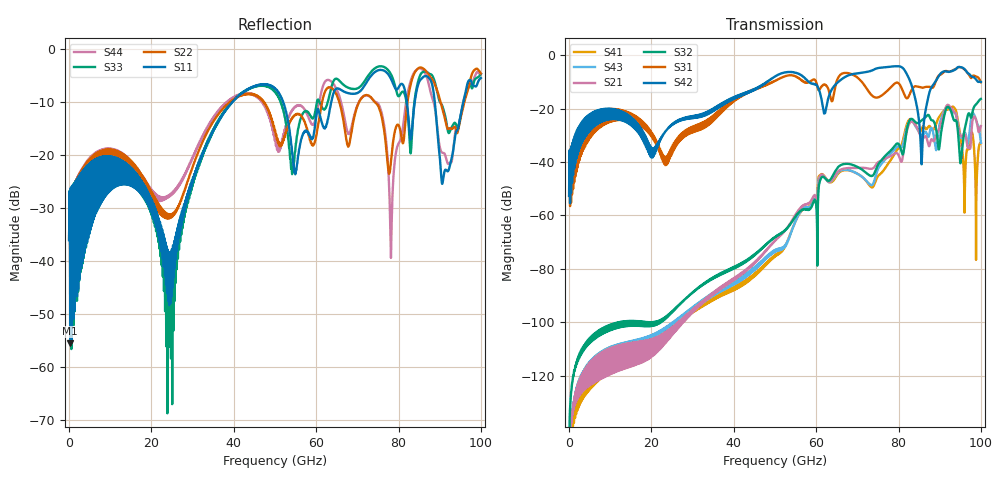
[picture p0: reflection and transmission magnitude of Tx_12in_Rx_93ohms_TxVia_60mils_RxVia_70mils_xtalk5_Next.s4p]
! Info: Touchstone file created by Circ.  Input file=Tx_12in_Rx_93ohms_TxVia_60mils_RxVia_70mils.circ
# Hz S RI R 50
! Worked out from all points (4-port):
!   10000 points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, 10 MHz to 100 GHz, reference 50 ohm
!   strongest paths, dB at 10 MHz, 25.01 GHz, 50.01 GHz, 75.01 GHz, 100 GHz:
!     S42: -52.7, -26.0, -8.0, -4.8, -10.0
!     S31: -52.7, -36.6, -9.7, -15.8, -10.1
!     S32: -156.8, -96.2, -68.2, -41.1, -16.4
!     S21: -167.7, -102.3, -69.5, -40.1, -26.6
!     S43: -158.1, -100.5, -73.5, -42.7, -32.8
!     S41: -158.4, -100.9, -75.4, -45.4, -32.9
!   lowest |S11| = -55.5 dB at 270 MHz (marker M1), VSWR 1.00, Z = 49.9 + j0.135 ohm
!   |S11| at or under -10 dB: start of sweep to 39.6 GHz; 51.99 GHz to 63.67 GHz (11.68 GHz wide, 20.2 % of centre); 88.81 GHz to 95.74 GHz (6.921 GHz wide, 7.5 % of centre) (the widest 3 of 4)
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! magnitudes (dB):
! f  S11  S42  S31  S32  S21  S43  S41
! 10 MHz  -36.0  -52.7  -52.7  -156.8  -167.7  -158.1  -158.4
! 270 MHz  -55.5  -42.6  -42.6  -131.6  -142.1  -142.0  -145.8
! 24.6 GHz  -47.5  -26.6  -35.5  -96.6  -104.7  -103.2  -101.9
! 39.98 GHz  -9.7  -16.4  -17.4  -79.3  -83.5  -84.5  -86.8
! 78.18 GHz  -5.6  -4.3  -12.0  -35.6  -37.8  -36.8  -39.1
! 85.58 GHz  -5.6  -40.8  -12.1  -24.4  -31.1  -30.1  -27.8
! 100 GHz  -5.4  -10.0  -10.1  -16.4  -26.6  -32.8  -32.9
